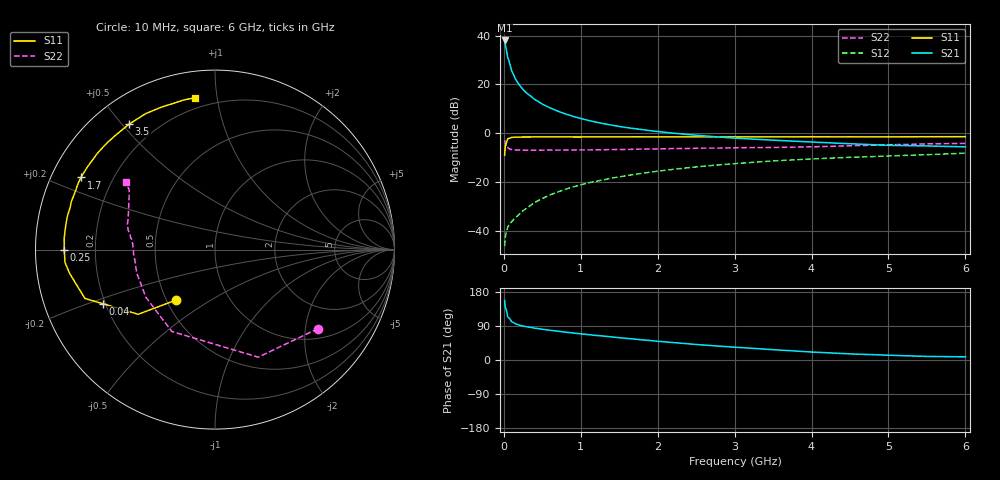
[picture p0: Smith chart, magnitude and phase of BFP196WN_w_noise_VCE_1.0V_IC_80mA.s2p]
! Infineon Technologies  Discrete & RF Semiconductors
! BFP196WN
! VCE =  1.0 V,  IC =  80 mA
! Common Emitter S-Parameters:  Jan 2017
# GHz  S  MA  R  50
!  f  S11  S21  S12  S22
! GHz  MAG  ANG  MAG  ANG  MAG  ANG  MAG  ANG
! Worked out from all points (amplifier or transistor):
!   77 points, 10 MHz to 6 GHz, reference 50 ohm
!   highest |S21| = 38.0 dB at 10 MHz (marker M1)
!   |S21| within 3 dB of that: start of sweep to 27.12 MHz
!   unconditionally stable (mu >= 1): 297.5 MHz to 3.944 GHz; 4.034 GHz to 5.645 GHz
!   at 130 MHz: K = 0.75, MSG = 29.5 dB, |S12| = -35.2 dB
!   at 2.2 GHz: K = 1.05, MAG = 6.0 dB, |S12| = -14.8 dB
!   at 6 GHz: K = 0.99, MSG = 1.3 dB, |S12| = -8.1 dB
!   lowest NFmin = 1.58 dB at 450 MHz
!   S11 on the Smith chart (normalised r, x): 10 MHz: 0.56, -0.36; 40 MHz: 0.19, -0.22; 250 MHz: 0.09, +0.00; 1.7 GHz: 0.09, +0.25; 3.5 GHz: 0.11, +0.52; 6 GHz: 0.14, +0.87
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0.01  0.3552 -127.7  79.58 156.8  0.0049 67.7  0.7232 -37.5
0.02  0.5595 -139.9  63.77 138.7  0.0077 56.0  0.6459 -68.1
0.04  0.6947 -154.3  44.08 125.5  0.0105 45.6  0.5102 -99.0
0.05  0.7741 -159.4  35.83 113.7  0.012 42.3  0.5157 -117.8
0.1  0.8209 -170.7  19.17 101.0  0.0154 49.4  0.4677 -145.5
0.15  0.8388 -175.1  13.02 95.5  0.0187 53.1  0.454 -157.2
0.2  0.8386 -178.0  9.82 92.1  0.0219 59.4  0.455 -163.0
0.25  0.841 180.0  7.867 89.5  0.0262 62.0  0.4525 -166.5
0.3  0.8403 178.2  6.579 87.5  0.0295 64.0  0.4501 -169.6
0.4  0.8427 175.6  4.952 84.0  0.0382 68.3  0.4504 -172.9
0.5  0.842 173.0  3.967 81.1  0.0463 69.3  0.4529 -175.3
0.6  0.842 171.0  3.319 78.4  0.0549 69.6  0.4546 -177.4
0.7  0.8426 169.1  2.849 76.1  0.0627 70.5  0.4533 -178.8
0.9  0.8413 165.2  2.223 71.3  0.0801 70.0  0.4561 178.9
1.1  0.844 161.8  1.837 67.0  0.0966 69.5  0.4584 176.8
1.7  0.8485 151.7  1.247 55.1  0.1446 65.2  0.4726 172.3
2.1  0.8459 145.6  1.049 47.8  0.1753 61.6  0.4833 169.8
3.1  0.8439 130.3  0.783 32.5  0.2459 51.8  0.5082 163.7
3.5  0.8473 124.4  0.725 27.2  0.2719 48.1  0.5136 160.4
4.1  0.849 115.8  0.653 20.1  0.3038 42.3  0.5344 154.2
5.1  0.8476 105.0  0.564 12.0  0.3477 34.3  0.5867 144.9
6  0.854 97.4  0.528 8.3  0.3924 28.2  0.6219 142.7
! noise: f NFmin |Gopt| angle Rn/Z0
0.45  1.58  0.58  -175  0.05
0.9  1.71  0.59  -168  0.07
1.9  2.67  0.7  -146  0.21
2.4  3.48  0.71  -138  0.35
